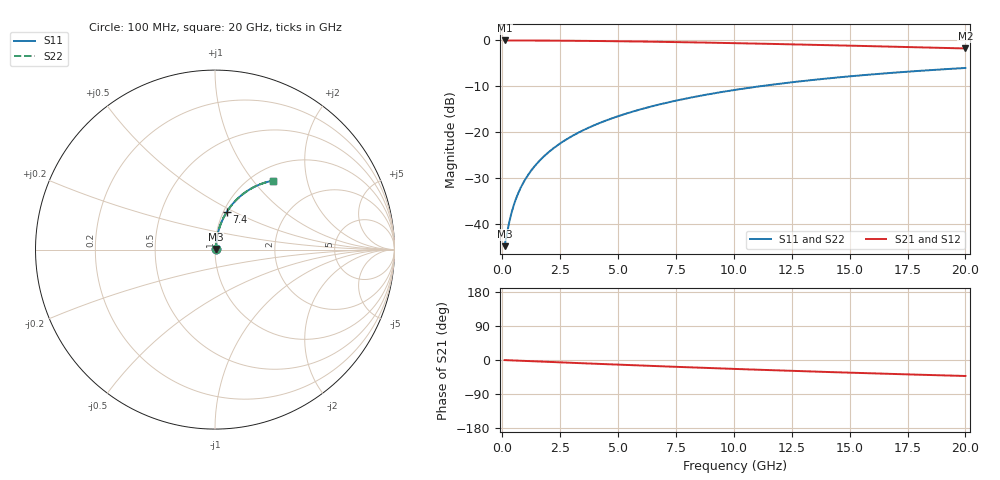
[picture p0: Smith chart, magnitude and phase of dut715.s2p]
! Touchstone file exported from HFSS 2024.1.0
!  File:  C:/UserFiles/LocalFiles/RDL_TSV_Batchsim/temp_RDL_bottom_715_1779858211.aedt
!  Generated:  01:06:25 PM May 27, 2026
!  Design:  RDL_bottom
!  Project:  temp_RDL_bottom_715_1779858211
!  Setup:  Setup1
!  Solution:  Sweep
! Variables:
!  dtsv = 10.80580581um
!  hbump = 3um
!  htsv = 87.39um
!  ldown = 503.37um
!  lrdl = 100um
!  p = 40
!  p1 = 55.04um
!  rhole = 1um
!  t = 450um
!  tdown = 3.32um
!  trdl = 3.915915916um
!  wdown = 11.13um
!  wrdl = 20um
# GHz S MA R 50.000000
! Terminal data exported
! Port[1] = RDL1_T1
! Port[2] = RDL1_T2
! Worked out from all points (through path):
!   200 points, 100 MHz to 20 GHz, reference 50 ohm
!   highest |S21| = -0.04 dB at 100 MHz (marker M1); lowest = -1.8 dB at 20 GHz (marker M2)
!   group delay of S21, straight-line fit = 5.87 ps
!   lowest |S11| = -44.7 dB at 100 MHz (marker M3), VSWR 1.01, Z = 50.5 + j0.313 ohm
!   |S11| at or under -10 dB: start of sweep to 11.13 GHz
!   |S22| runs from -44.7 to -6.0 dB; largest |S21 - S12| = 2.3e-15
!   S11 on the Smith chart (normalised r, x): 100 MHz: 1.01, +0.01; 7.4 GHz: 1.04, +0.45; 20 GHz: 1.23, +1.26
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0.1  0.005789 32.4  0.9951 -0.3  0.9951 -0.3  0.005789 32.4
! Gamma 0 0 0 0
! Port Impedance 50 0 50 0
0.2  0.007938 51.3  0.9951 -0.5  0.9951 -0.5  0.007938 51.3
0.3  0.01057 61.3  0.995 -0.8  0.995 -0.8  0.01057 61.3
0.4  0.01339 67.0  0.9948 -1.0  0.9948 -1.0  0.01339 67.1
0.5  0.01628 70.7  0.9947 -1.3  0.9947 -1.3  0.01628 70.7
0.6  0.0192 73.1  0.9945 -1.5  0.9945 -1.5  0.0192 73.1
0.8  0.0251 76.2  0.9942 -2.0  0.9942 -2.0  0.0251 76.2
1.1  0.03399 78.5  0.9937 -2.8  0.9937 -2.8  0.03399 78.5
1.5  0.0459 80.0  0.9928 -3.8  0.9928 -3.8  0.0459 80.0
1.8  0.05484 80.4  0.992 -4.5  0.992 -4.5  0.05484 80.4
2.1  0.06379 80.6  0.991 -5.2  0.991 -5.2  0.06379 80.6
2.7  0.08168 80.3  0.9888 -6.7  0.9888 -6.7  0.08168 80.3
3.5  0.1055 79.5  0.9851 -8.7  0.9851 -8.7  0.1055 79.5
4.2  0.1261 78.5  0.9812 -10.3  0.9812 -10.3  0.1261 78.5
5  0.1495 77.2  0.976 -12.3  0.976 -12.3  0.1495 77.2
6.8  0.2011 73.9  0.9619 -16.4  0.9619 -16.4  0.2011 73.9
7.4  0.2179 72.8  0.9566 -17.8  0.9566 -17.8  0.2179 72.8
8.7  0.2534 70.3  0.9442 -20.7  0.9442 -20.7  0.2534 70.3
10.1  0.2902 67.6  0.9298 -23.7  0.9298 -23.7  0.2902 67.6
13.4  0.3703 61.4  0.8927 -30.4  0.8927 -30.4  0.3703 61.4
16.7  0.4402 55.5  0.8537 -36.5  0.8537 -36.5  0.4402 55.5
20  0.5 50.1  0.8147 -42.2  0.8147 -42.2  0.5 50.1
